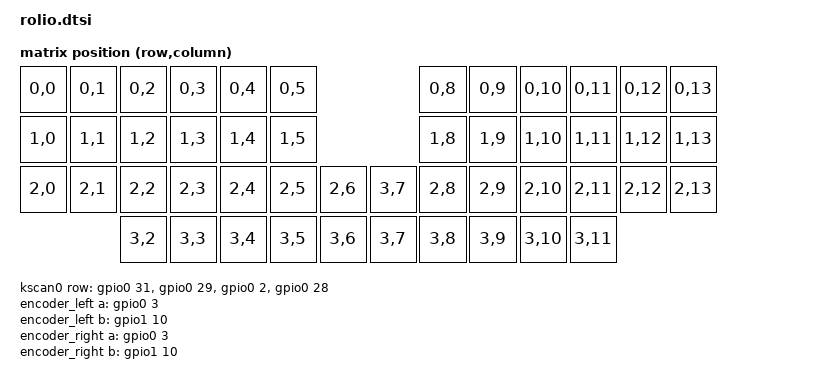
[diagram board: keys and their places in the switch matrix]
/*
 * Copyright (c) 2020 Pete Johanson, Ryan Cross
 *
 * SPDX-License-Identifier: MIT
 */

#include <dt-bindings/zmk/matrix_transform.h>
#include <dt-bindings/led/led.h>
#include "rolio46-layout.dtsi"
#include "control_gpio_behavior.dtsi"

&rolio46_layout {
    kscan = <&kscan0>;
    transform = <&default_transform>;
};


/ {
    chosen {
        zmk,physical-layout = &rolio46_layout;
        zmk,kscan = &kscan0;
        zmk,underglow = &led_strip;
        zmk,backlight = &underglow_power;
    };

    default_transform: keymap_transform_0 {
        compatible = "zmk,matrix-transform";
        columns = <14>;
        rows = <4>;
        map = <
            RC(0,0) RC(0,1) RC(0,2) RC(0,3) RC(0,4) RC(0,5)                   RC(0,8) RC(0,9) RC(0,10) RC(0,11) RC(0,12) RC(0,13)
            RC(1,0) RC(1,1) RC(1,2) RC(1,3) RC(1,4) RC(1,5)                   RC(1,8) RC(1,9) RC(1,10) RC(1,11) RC(1,12) RC(1,13)
            RC(2,0) RC(2,1) RC(2,2) RC(2,3) RC(2,4) RC(2,5) RC(2,6)   RC(3,7) RC(2,8) RC(2,9) RC(2,10) RC(2,11) RC(2,12) RC(2,13)
                            RC(3,2) RC(3,3) RC(3,4) RC(3,5) RC(3,6)   RC(3,7) RC(3,8) RC(3,9) RC(3,10) RC(3,11)
        >;
    };

    kscan0: kscan {
        compatible = "zmk,kscan-gpio-matrix";
        wakeup-source;
        diode-direction = "col2row";
        row-gpios
            = <&gpio0 31 (GPIO_ACTIVE_HIGH | GPIO_PULL_DOWN)>
            , <&gpio0 29 (GPIO_ACTIVE_HIGH | GPIO_PULL_DOWN)>
            , <&gpio0 2 (GPIO_ACTIVE_HIGH | GPIO_PULL_DOWN)>
            , <&gpio0 28 (GPIO_ACTIVE_HIGH | GPIO_PULL_DOWN)>
            ;
    };

    encoder_left: encoder_left {
        compatible = "alps,ec11";
        a-gpios = <&gpio0 3 (GPIO_ACTIVE_HIGH | GPIO_PULL_UP)>;
        b-gpios = <&gpio1 10 (GPIO_ACTIVE_HIGH | GPIO_PULL_UP)>;
        steps = <30>;
        status = "disabled";
    };

    encoder_right: encoder_right {
        compatible = "alps,ec11";
        a-gpios = <&gpio0 3 (GPIO_ACTIVE_HIGH | GPIO_PULL_UP)>;
        b-gpios = <&gpio1 10 (GPIO_ACTIVE_HIGH | GPIO_PULL_UP)>;
        steps = <30>;
        status = "disabled";
    };

    sensors {
        compatible = "zmk,keymap-sensors";
        sensors = <&encoder_left &encoder_right>;
        triggers-per-rotation = <15>;
    };

    underglow_power: underglow_power {
        compatible = "pwm-leds";
        underglow_power {
            pwms = <&pwm0 0 10000 PWM_POLARITY_NORMAL>;
        };
    };

    peripheral_power_domains: peripheral_power_domains {
        compatible = "zmk,control-gpio";
        haptic_enable: haptic_enable {
            gpios = <&gpio0 10 GPIO_ACTIVE_HIGH>;
        };
    };

};

// Enable SPI for MIP display 
nice_view_spi: &spi0 {
    compatible = "nordic,nrf-spim";
    pinctrl-0 = <&spi0_default>;
    pinctrl-1 = <&spi0_sleep>;
    pinctrl-names = "default", "sleep";
    cs-gpios = <&gpio0 20 GPIO_ACTIVE_HIGH>;
};

&i2c0 {
    status = "disabled";
};

&pinctrl {
    spi3_default: spi3_default {
        group1 {
            psels = <NRF_PSEL(SPIM_MOSI, 0, 13)>;
        };
    };

    spi3_sleep: spi3_sleep {
        group1 {
            psels = <NRF_PSEL(SPIM_MOSI, 0, 13)>;
            low-power-enable;
        };
    };
};

&spi3 {
    compatible = "nordic,nrf-spim";
    status = "okay";

    pinctrl-0 = <&spi3_default>;
    pinctrl-1 = <&spi3_sleep>;
    pinctrl-names = "default", "sleep";

    led_strip: ws2812@0 {
        compatible = "worldsemi,ws2812-spi";

        /* SPI */
        reg = <0>; /* ignored, but necessary for SPI bindings */
        spi-max-frequency = <4000000>;

        /* WS2812 */
        chain-length = <23>; /* number of LEDs */
        spi-one-frame = <0x70>;
        spi-zero-frame = <0x40>;
        color-mapping = <LED_COLOR_ID_GREEN
                         LED_COLOR_ID_RED
                         LED_COLOR_ID_BLUE>;
    };
};
